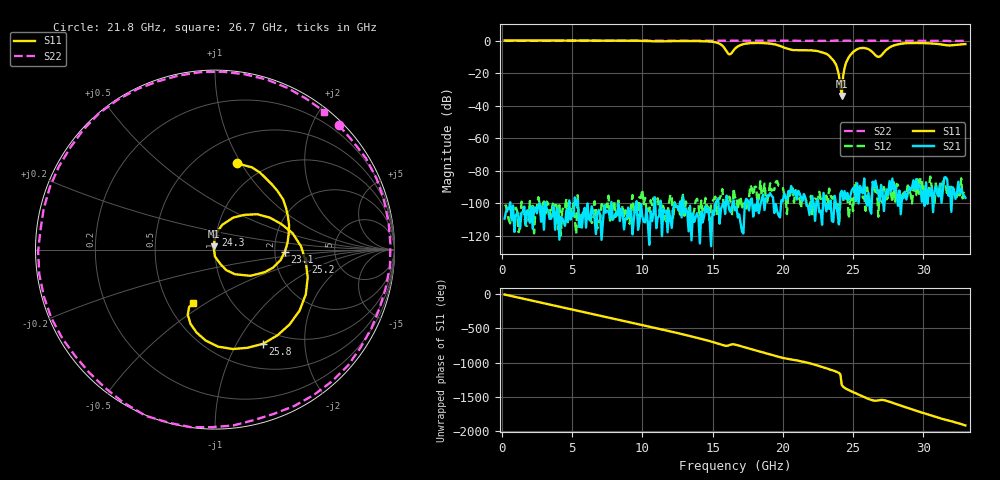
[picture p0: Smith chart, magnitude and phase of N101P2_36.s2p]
# GHZ S RI R 50
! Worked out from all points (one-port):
!   329 points, 200 MHz to 33 GHz, reference 50 ohm
!   lowest |S11| = -34.1 dB at 24.2 GHz (marker M1), VSWR 1.04, Z = 49.2 + j1.78 ohm
!   |S11| at or under -10 dB: 23.37 GHz to 24.72 GHz (1.357 GHz wide, 5.64 % of centre); 26.77533 GHz to 26.85267 GHz (77.34 MHz wide, 0.288 % of centre)
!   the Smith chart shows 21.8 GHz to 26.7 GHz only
!   S11 on the Smith chart (normalised r, x): 21.8 GHz: 0.75, +0.96; 23.1 GHz: 2.27, -0.06; 24.3 GHz: 0.99, +0.16; 25.2 GHz: 2.97, -0.53; 25.8 GHz: 0.81, -1.29; 26.7 GHz: 0.66, -0.44
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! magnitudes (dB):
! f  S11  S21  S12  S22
! 200 MHz  0.0  -109.3  -101.7  0.0
! 5.7 GHz  0.0  -114.9  -104.8  -0.1
! 11.2 GHz  -0.5  -107.9  -103.5  -0.1
! 15.1 GHz  -0.9  -107.0  -97.5  -0.1
! 15.7 GHz  -3.2  -101.1  -91.2  -0.1
! 16.2 GHz  -8.5  -104.2  -95.8  -0.1
! 16.6 GHz  -5.0  -104.3  -96.4  -0.1
! 18.4 GHz  -1.5  -101.2  -86.4  -0.2
! 21.8 GHz  -6.1  -101.5  -99.0  -0.2
! 22.1 GHz  -6.1  -95.5  -107.3  -0.1
! 23.1 GHz  -8.2  -104.9  -95.2  -0.2
! 23.8 GHz  -15.0  -100.7  -102.0  0.0
! 24 GHz  -21.4  -112.9  -113.4  0.0
! 24.2 GHz  -34.1  -92.3  -98.0  -0.1
! 24.3 GHz  -21.6  -97.5  -98.8  -0.2
! 24.6 GHz  -11.9  -93.6  -96.5  -0.1
! 25.2 GHz  -5.9  -98.7  -86.5  -0.1
! 25.8 GHz  -4.6  -84.7  -96.0  -0.1
! 26.7 GHz  -9.8  -90.9  -89.8  -0.2
! 27.6 GHz  -4.3  -86.3  -93.8  -0.2
! 28.9 GHz  -1.6  -93.9  -89.0  -0.2
! 33 GHz  -2.2  -96.6  -91.5  -0.2
